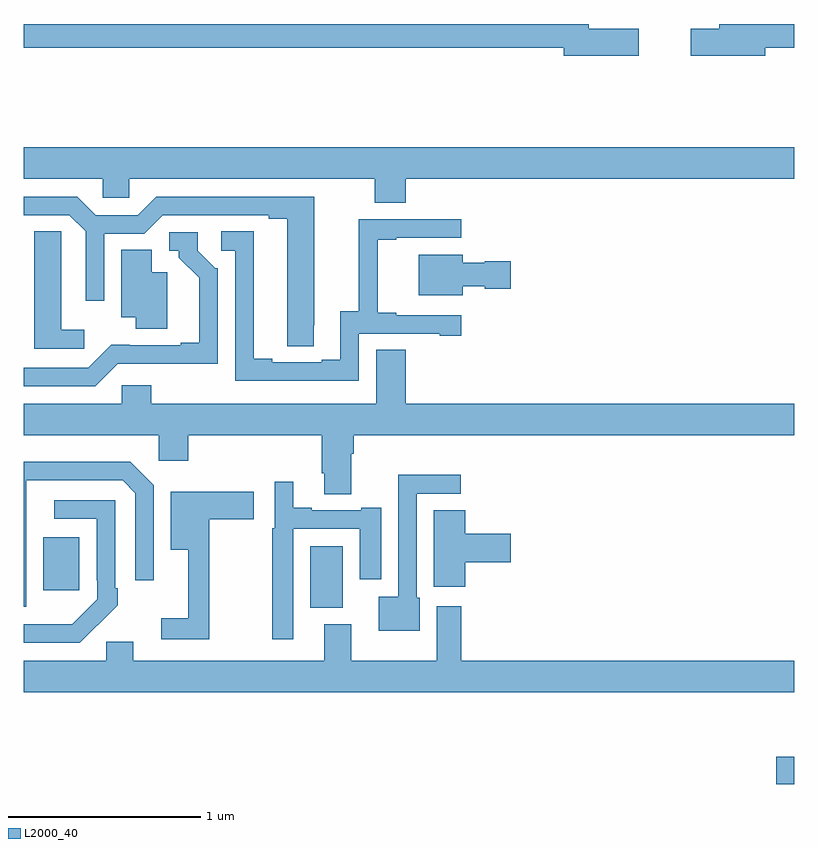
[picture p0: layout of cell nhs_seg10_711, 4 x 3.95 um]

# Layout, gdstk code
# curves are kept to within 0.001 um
import gdstk
lib = gdstk.Library(unit=1e-6, precision=1e-09)
def R(c, l, rs):  # rectangles x0, y0, x1, y1
    for r in rs: c.add(gdstk.rectangle(r[:2], r[2:], *l))
def P(c, l, *ps):  # polygons
    for p in ps: c.add(gdstk.Polygon(p, *l))
L2000_40 = (2000, 40)

nhs_seg10_711 = lib.new_cell('nhs_seg10_711')
R(nhs_seg10_711, L2000_40, [(150.906,1250.555,151,1250.697), (148.487,1251.47,148.657,1251.79), (147.101,1251.561,147.289,1251.835)])
P(nhs_seg10_711, L2000_40, [(150.85,1254.376),(151,1254.376),(151,1254.5),(150.611,1254.5),(150.611,1254.476),(150.462,1254.476),(150.462,1254.334),(150.85,1254.334)],
  [(150.193,1254.476),(149.932,1254.476),(149.932,1254.5),(147,1254.5),(147,1254.376),(149.804,1254.376),(149.804,1254.334),(150.193,1254.334)],
  [(148.982,1253.696),(151,1253.696),(151,1253.86),(147,1253.86),(147,1253.696),(147.411,1253.696),(147.411,1253.598),(147.549,1253.598),(147.549,1253.696),(148.822,1253.696),(148.822,1253.572),(148.982,1253.572)],
  [(148.506,1252.936),(148.507,1253.604),(147.687,1253.604),(147.591,1253.508),(147.373,1253.508),(147.277,1253.604),(147,1253.604),(147,1253.508),(147.237,1253.508),(147.321,1253.424),(147.321,1253.064),(147.417,1253.064),(147.417,1253.412),(147.627,1253.412),(147.723,1253.508),(148.271,1253.508),(148.271,1253.488),(148.367,1253.488),(148.367,1252.828),(148.506,1252.828)],
  [(148.74,1252.893),(149.159,1252.893),(149.159,1252.881),(149.272,1252.881),(149.272,1252.989),(148.933,1252.989),(148.933,1253.002),(148.838,1253.002),(148.838,1253.379),(148.933,1253.379),(148.933,1253.391),(149.272,1253.391),(149.272,1253.487),(148.738,1253.487),(148.738,1253.009),(148.643,1253.009),(148.643,1252.758),(148.547,1252.758),(148.547,1252.743),(148.291,1252.743),(148.291,1252.763),(148.195,1252.763),(148.195,1253.423),(148.026,1253.423),(148.026,1253.322),(148.098,1253.322),(148.098,1252.647),(148.74,1252.647)],
  [(147.313,1252.912),(147.196,1252.912),(147.196,1253.315),(147.195,1253.315),(147.195,1253.423),(147.056,1253.423),(147.056,1252.815),(147.313,1252.815)],
  [(147.489,1252.737),(148.008,1252.736),(148.008,1253.232),(147.993,1253.232),(147.903,1253.322),(147.903,1253.418),(147.756,1253.418),(147.756,1253.322),(147.806,1253.322),(147.806,1253.287),(147.911,1253.182),(147.911,1252.846),(147.815,1252.846),(147.815,1252.833),(147.454,1252.834),(147.336,1252.716),(147,1252.716),(147,1252.62),(147.372,1252.62)],
  [(147.745,1253.212),(147.664,1253.212),(147.664,1253.327),(147.506,1253.327),(147.506,1252.979),(147.581,1252.979),(147.581,1252.918),(147.745,1252.918)],
  [(149.278,1253.138),(149.394,1253.138),(149.394,1253.126),(149.527,1253.126),(149.527,1253.268),(149.394,1253.268),(149.394,1253.26),(149.278,1253.26),(149.278,1253.302),(149.051,1253.302),(149.051,1253.093),(149.278,1253.093)],
  [(148.699,1252.268),(148.712,1252.268),(148.712,1252.364),(151,1252.364),(151,1252.528),(148.982,1252.528),(148.982,1252.808),(148.829,1252.808),(148.829,1252.528),(147.662,1252.528),(147.662,1252.626),(147.51,1252.626),(147.51,1252.528),(147,1252.528),(147,1252.364),(147.702,1252.364),(147.702,1252.233),(147.854,1252.233),(147.854,1252.364),(148.547,1252.364),(148.547,1252.168),(148.559,1252.168),(148.559,1252.06),(148.699,1252.06)],
  [(147.012,1251.931),(147.013,1251.931),(147.013,1252.131),(147.513,1252.131),(147.579,1252.065),(147.579,1251.612),(147.675,1251.612),(147.675,1252.107),(147.554,1252.228),(147,1252.228),(147,1251.474),(147.012,1251.474)],
  [(149.056,1251.522),(149.04,1251.522),(149.04,1252.062),(149.269,1252.062),(149.269,1252.16),(148.944,1252.16),(148.944,1251.526),(148.844,1251.526),(148.844,1251.35),(149.056,1251.35)],
  [(148.398,1251.879),(148.745,1251.879),(148.745,1251.618),(148.855,1251.618),(148.855,1251.988),(148.751,1251.988),(148.751,1251.975),(148.495,1251.975),(148.495,1251.988),(148.399,1251.988),(148.399,1252.123),(148.302,1252.123),(148.302,1251.882),(148.29,1251.882),(148.29,1251.306),(148.398,1251.306)],
  [(147.964,1251.929),(148.195,1251.929),(148.195,1252.071),(147.764,1252.071),(147.764,1251.77),(147.854,1251.77),(147.854,1251.415),(147.714,1251.415),(147.714,1251.306),(147.964,1251.306)],
  [(147.383,1251.379),(147.384,1251.378),(147.489,1251.483),(147.489,1251.571),(147.474,1251.571),(147.474,1252.029),(147.159,1252.029),(147.159,1251.933),(147.378,1251.933),(147.378,1251.613),(147.381,1251.613),(147.381,1251.513),(147.253,1251.385),(147,1251.384),(147,1251.288),(147.292,1251.288)],
  [(149.291,1251.707),(149.527,1251.707),(149.527,1251.854),(149.291,1251.854),(149.291,1251.977),(149.129,1251.977),(149.129,1251.579),(149.291,1251.579)],
  [(151,1251.196),(149.27,1251.196),(149.27,1251.478),(149.144,1251.478),(149.144,1251.196),(148.699,1251.196),(148.699,1251.385),(148.559,1251.385),(148.559,1251.196),(147.568,1251.196),(147.568,1251.294),(147.429,1251.294),(147.429,1251.196),(147,1251.196),(147,1251.032),(151,1251.032)])

lib.write_gds('nhs_seg10_711.gds')
